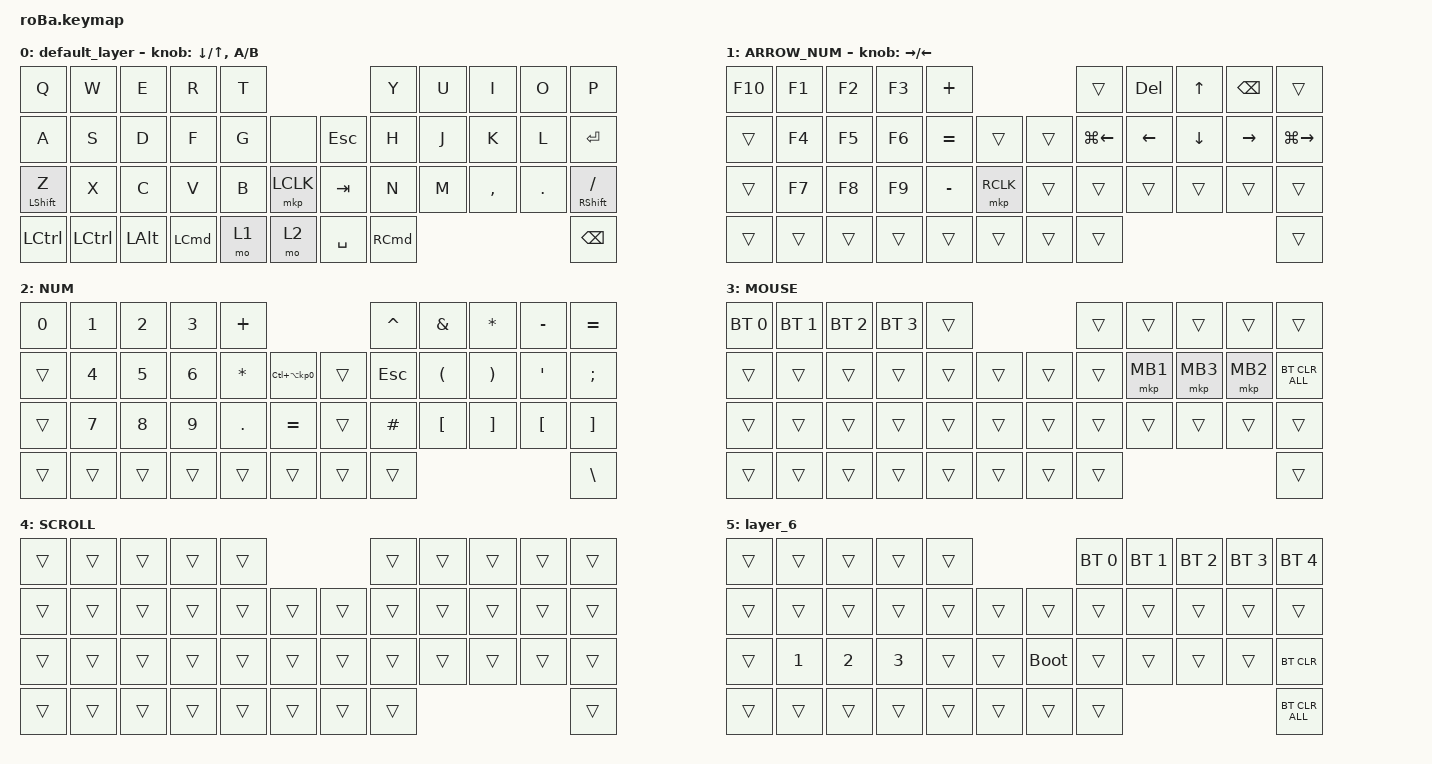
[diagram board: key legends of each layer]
#include <behaviors.dtsi>
#include <dt-bindings/zmk/bt.h>
#include <dt-bindings/zmk/keys.h>
#include <dt-bindings/zmk/pointing.h>

#define MOUSE 4
#define SCROLL 5
#define NUM 6

&mt {
    flavor = "balanced";
    quick-tap-ms = <0>;
};

/ {
    combos {
        compatible = "zmk,combos";

        layer3 {
            bindings = <&mo 3>;
            key-positions = <16 28>;
        };
    };

    macros {
        to_layer_0: to_layer_0 {
            compatible = "zmk,behavior-macro-one-param";
            #binding-cells = <1>;
            bindings = <&to 0 &macro_param_1to1 &kp MACRO_PLACEHOLDER>;
            label = "TO_LAYER_0";
        };
    };

    behaviors {
        lt_to_layer_0: lt_to_layer_0 {
            compatible = "zmk,behavior-hold-tap";
            label = "LAYER_TAP_TO_0";
            bindings = <&mo>, <&to_layer_0>;

            #binding-cells = <2>;
            tapping-term-ms = <200>;
        };
    };

    keymap {
        compatible = "zmk,keymap";

        default_layer {
            bindings = <
&kp Q             &kp W             &kp E         &kp R             &kp T                             &kp Y              &kp U  &kp I      &kp O    &kp P
&kp A             &kp S             &kp D         &kp F             &kp G  &none          &kp ESCAPE  &kp H              &kp J  &kp K      &kp L    &kp ENTER
&mt LEFT_SHIFT Z  &kp X             &kp C         &kp V             &kp B  &mkp LCLK      &kp TAB     &kp N              &kp M  &kp COMMA  &kp DOT  &mt RIGHT_SHIFT SLASH
&kp LCTRL         &kp LEFT_CONTROL  &kp LEFT_ALT  &kp LEFT_COMMAND  &mo 1  &mo 2          &kp SPACE   &kp RIGHT_COMMAND                             &kp BACKSPACE
            >;

            sensor-bindings =
                <&inc_dec_kp DOWN_ARROW UP_ARROW>,
                <&inc_dec_kp A B>;
        };

        ARROW_NUM {
            bindings = <
&kp F10  &kp F1  &kp F2  &kp F3  &kp PLUS                          &trans              &kp DELETE      &kp UP_ARROW    &kp BACKSPACE    &trans
&trans   &kp F4  &kp F5  &kp F6  &kp EQUAL  &trans         &trans  &kp LG(LEFT_ARROW)  &kp LEFT_ARROW  &kp DOWN_ARROW  &kp RIGHT_ARROW  &kp LG(RIGHT_ARROW)
&trans   &kp F7  &kp F8  &kp F9  &kp MINUS  &mkp RCLK      &trans  &trans              &trans          &trans          &trans           &trans
&trans   &trans  &trans  &trans  &trans     &trans         &trans  &trans                                                               &trans
            >;

            sensor-bindings = <&inc_dec_kp RIGHT_ARROW LEFT_ARROW>;
        };

        NUM {
            bindings = <
&kp N0  &kp NUMBER_1  &kp NUMBER_2  &kp NUMBER_3  &kp PLUS                                           &kp CARET   &kp AMPERSAND         &kp ASTRK              &kp MINUS         &kp EQUAL
&trans  &kp NUMBER_4  &kp N5        &kp NUMBER_6  &kp ASTERISK  &kp LC(LA(KP_NUMBER_0))      &trans  &kp ESCAPE  &kp LEFT_PARENTHESIS  &kp RIGHT_PARENTHESIS  &kp SINGLE_QUOTE  &kp SEMICOLON
&trans  &kp N7        &kp N8        &kp N9        &kp PERIOD    &kp EQUAL                    &trans  &kp HASH    &kp LEFT_BRACKET      &kp RIGHT_BRACKET      &kp LEFT_BRACKET  &kp RIGHT_BRACKET
&trans  &trans        &trans        &trans        &trans        &trans                       &trans  &trans                                                                     &kp BACKSLASH
            >;
        };

        MOUSE {
            bindings = <
&bt BT_SEL 0  &bt BT_SEL 1  &bt BT_SEL 2  &bt BT_SEL 3  &trans                      &trans  &trans    &trans    &trans    &trans
&trans        &trans        &trans        &trans        &trans  &trans      &trans  &trans  &mkp MB1  &mkp MB3  &mkp MB2  &bt BT_CLR_ALL
&trans        &trans        &trans        &trans        &trans  &trans      &trans  &trans  &trans    &trans    &trans    &trans
&trans        &trans        &trans        &trans        &trans  &trans      &trans  &trans                                &trans
            >;
        };

        SCROLL {
            bindings = <
&trans  &trans  &trans  &trans  &trans                      &trans  &trans  &trans  &trans  &trans
&trans  &trans  &trans  &trans  &trans  &trans      &trans  &trans  &trans  &trans  &trans  &trans
&trans  &trans  &trans  &trans  &trans  &trans      &trans  &trans  &trans  &trans  &trans  &trans
&trans  &trans  &trans  &trans  &trans  &trans      &trans  &trans                          &trans
            >;
        };

        layer_6 {
            bindings = <
&trans  &trans        &trans        &trans        &trans                           &bt BT_SEL 0  &bt BT_SEL 1  &bt BT_SEL 2  &bt BT_SEL 3  &bt BT_SEL 4
&trans  &trans        &trans        &trans        &trans  &trans      &trans       &trans        &trans        &trans        &trans        &trans
&trans  &kp NUMBER_1  &kp NUMBER_2  &kp NUMBER_3  &trans  &trans      &bootloader  &trans        &trans        &trans        &trans        &bt BT_CLR
&trans  &trans        &trans        &trans        &trans  &trans      &trans       &trans                                                  &bt BT_CLR_ALL
            >;
        };
    };
};
